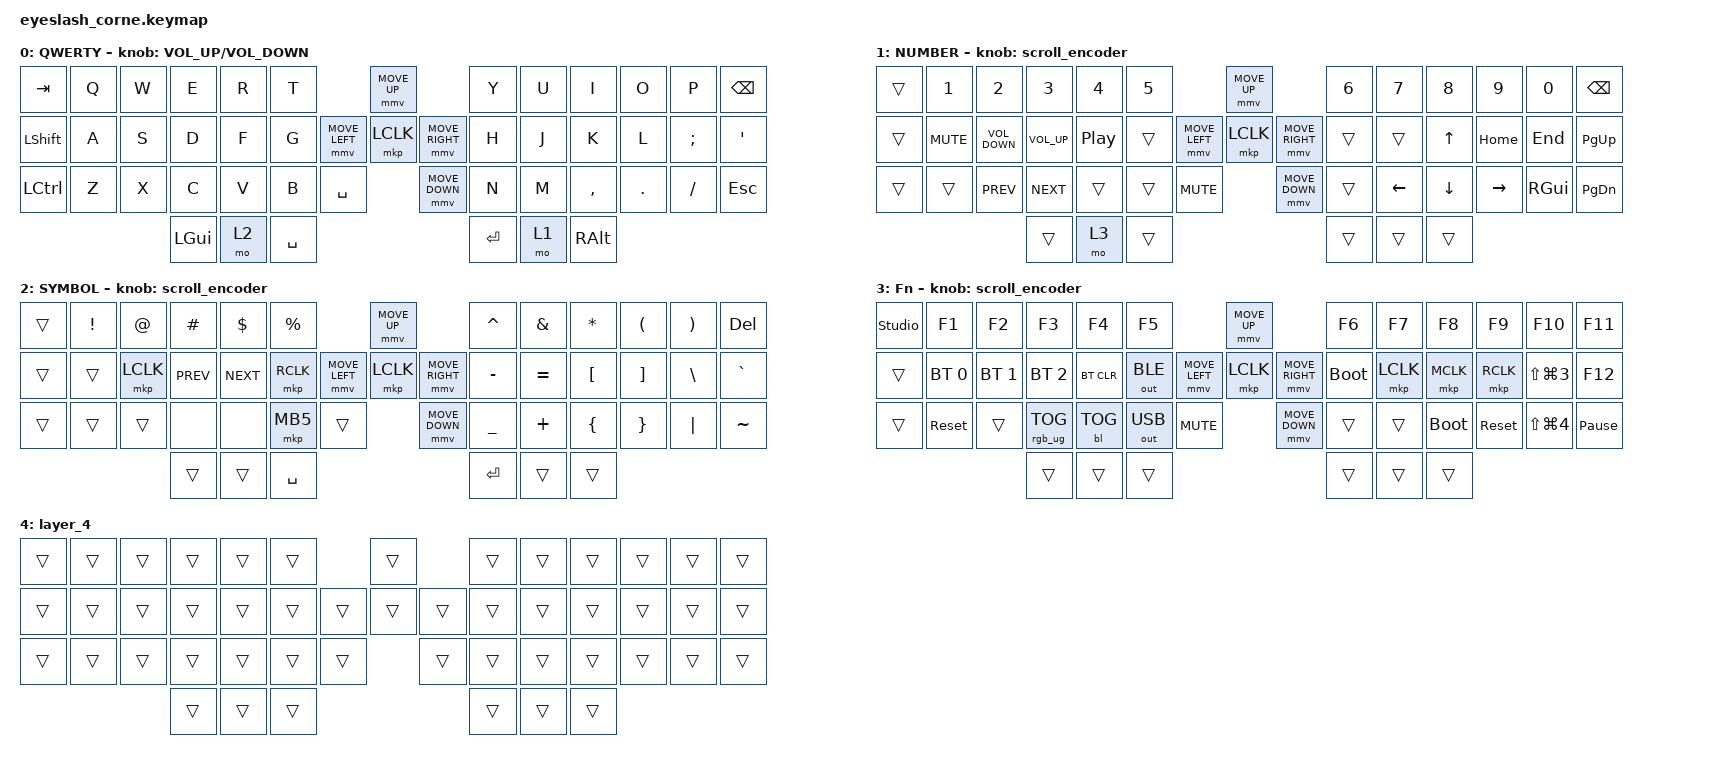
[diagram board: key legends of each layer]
#define ZMK_POINTING_DEFAULT_MOVE_VAL 1200  // 600
#define ZMK_POINTING_DEFAULT_SCRL_VAL 25   // 10

#include <input/processors.dtsi>
#include <zephyr/dt-bindings/input/input-event-codes.h>
#include <behaviors.dtsi>
#include <dt-bindings/zmk/backlight.h>
#include <dt-bindings/zmk/bt.h>
#include <dt-bindings/zmk/keys.h>
#include <dt-bindings/zmk/outputs.h>
#include <dt-bindings/zmk/pointing.h>
#include <dt-bindings/zmk/rgb.h>

&mmv_input_listener { input-processors = <&zip_xy_scaler 2 1>; };

&msc_input_listener { input-processors = <&zip_scroll_scaler 2 1>; };

&msc {
    acceleration-exponent = <1>;      // 0
    time-to-max-speed-ms = <100>;       // 300
    delay-ms = <0>;                   // 0
};

&mmv {
    time-to-max-speed-ms = <500>;
    acceleration-exponent = <1>;
    trigger-period-ms = <16>;
};

/ {
    behaviors {
        td0: td0 {
            compatible = "zmk,behavior-tap-dance";
            display-name = "Shift/Caps Lock Tap Dance";
            #binding-cells = <0>;
            bindings = <&kp LEFT_SHIFT>, <&kp CAPS>;
        };
    };

    rgb_encoder: rgb_encoder {
        compatible = "zmk,behavior-sensor-rotate";
        #sensor-binding-cells = <0>;
        bindings = <&rgb_ug RGB_BRI>, <&rgb_ug RGB_BRD>;
    };

    scroll_encoder: scroll_encoder {
        compatible = "zmk,behavior-sensor-rotate";
        #sensor-binding-cells = <0>;
        bindings = <&msc SCRL_DOWN>, <&msc SCRL_UP>;

        tap-ms = <100>;
    };

    combos {
        compatible = "zmk,combos";

        layer3 {
            bindings = <&mo 3>;
            key-positions = <43 46>;
        };

        right_shift {
            bindings = <&kp RIGHT_SHIFT>;
            key-positions = <26 25>;
        };

        left_alt {
            bindings = <&kp LEFT_ALT>;
            key-positions = <30 31>;
        };

        leftalt {
            bindings = <&kp LEFT_ALT>;
            key-positions = <15 16>;
        };
    };

    keymap {
        compatible = "zmk,keymap";

        default_layer {
            display-name = "QWERTY";
            bindings = <
&kp TAB         &kp Q  &kp W  &kp E     &kp R  &kp T                                   &mmv MOVE_UP                     &kp Y      &kp U  &kp I      &kp O    &kp P     &kp BSPC
&kp LEFT_SHIFT  &kp A  &kp S  &kp D     &kp F  &kp G                   &mmv MOVE_LEFT  &mkp LCLK       &mmv MOVE_RIGHT  &kp H      &kp J  &kp K      &kp L    &kp SEMI  &kp SQT
&kp LCTRL       &kp Z  &kp X  &kp C     &kp V  &kp B      &kp SPACE                    &mmv MOVE_DOWN                   &kp N      &kp M  &kp COMMA  &kp DOT  &kp FSLH  &kp ESC
                              &kp LGUI  &mo 2  &kp SPACE                                                                &kp ENTER  &mo 1  &kp RALT
            >;

            sensor-bindings = <&inc_dec_kp C_VOLUME_UP C_VOLUME_DOWN>;
        };

        lower_layer {
            display-name = "NUMBER";
            bindings = <
&trans  &kp N1      &kp N2             &kp N3           &kp N4    &kp N5                                &mmv MOVE_UP                     &kp N6  &kp N7    &kp N8          &kp N9     &kp N0         &kp BACKSPACE
&trans  &kp C_MUTE  &kp C_VOLUME_DOWN  &kp C_VOLUME_UP  &kp C_PP  &trans                &mmv MOVE_LEFT  &mkp LCLK       &mmv MOVE_RIGHT  &trans  &trans    &kp UP          &kp HOME   &kp END        &kp PG_UP
&trans  &trans      &kp C_PREV         &kp C_NEXT       &trans    &trans  &kp C_MUTE                    &mmv MOVE_DOWN                   &trans  &kp LEFT  &kp DOWN_ARROW  &kp RIGHT  &kp RIGHT_GUI  &kp PG_DN
                                       &trans           &mo 3     &trans                                                                 &trans  &trans    &trans
            >;

            sensor-bindings = <&scroll_encoder>;
        };

        raise_layer {
            display-name = "SYMBOL";
            bindings = <
&trans  &kp EXCL  &kp AT     &kp HASH    &kp DLLR    &kp PRCNT                            &mmv MOVE_UP                     &kp CARET  &kp AMPS   &kp ASTRK  &kp LPAR  &kp RPAR  &kp DELETE
&trans  &trans    &mkp LCLK  &kp C_PREV  &kp C_NEXT  &mkp RCLK            &mmv MOVE_LEFT  &mkp LCLK       &mmv MOVE_RIGHT  &kp MINUS  &kp EQUAL  &kp LBKT   &kp RBKT  &kp BSLH  &kp GRAVE
&trans  &trans    &trans     &none       &none       &mkp MB5   &trans                    &mmv MOVE_DOWN                   &kp UNDER  &kp PLUS   &kp LBRC   &kp RBRC  &kp PIPE  &kp TILDE
                             &trans      &trans      &kp SPACE                                                             &kp RET    &trans     &trans
            >;

            sensor-bindings = <&scroll_encoder>;
        };

        layer_3 {
            display-name = "Fn";
            bindings = <
&studio_unlock  &kp F1        &kp F2        &kp F3           &kp F4      &kp F5                                      &mmv MOVE_UP                     &kp F6       &kp F7     &kp F8       &kp F9      &kp F10               &kp F11
&trans          &bt BT_SEL 0  &bt BT_SEL 1  &bt BT_SEL 2     &bt BT_CLR  &out OUT_BLE                &mmv MOVE_LEFT  &mkp LCLK       &mmv MOVE_RIGHT  &bootloader  &mkp LCLK  &mkp MCLK    &mkp RCLK   &kp LS(LG(NUMBER_3))  &kp F12
&trans          &sys_reset    &trans        &rgb_ug RGB_TOG  &bl BL_TOG  &out OUT_USB  &kp C_MUTE                    &mmv MOVE_DOWN                   &trans       &trans     &bootloader  &sys_reset  &kp LS(LG(NUMBER_4))  &kp PAUSE_BREAK
                                            &trans           &trans      &trans                                                                       &trans       &trans     &trans
            >;

            sensor-bindings = <&scroll_encoder>;
        };

        layer_4 {
            bindings = <
&trans  &trans  &trans  &trans  &trans  &trans                    &trans          &trans  &trans  &trans  &trans  &trans  &trans
&trans  &trans  &trans  &trans  &trans  &trans            &trans  &trans  &trans  &trans  &trans  &trans  &trans  &trans  &trans
&trans  &trans  &trans  &trans  &trans  &trans  &trans            &trans          &trans  &trans  &trans  &trans  &trans  &trans
                        &trans  &trans  &trans                                    &trans  &trans  &trans
            >;
        };
    };
};
